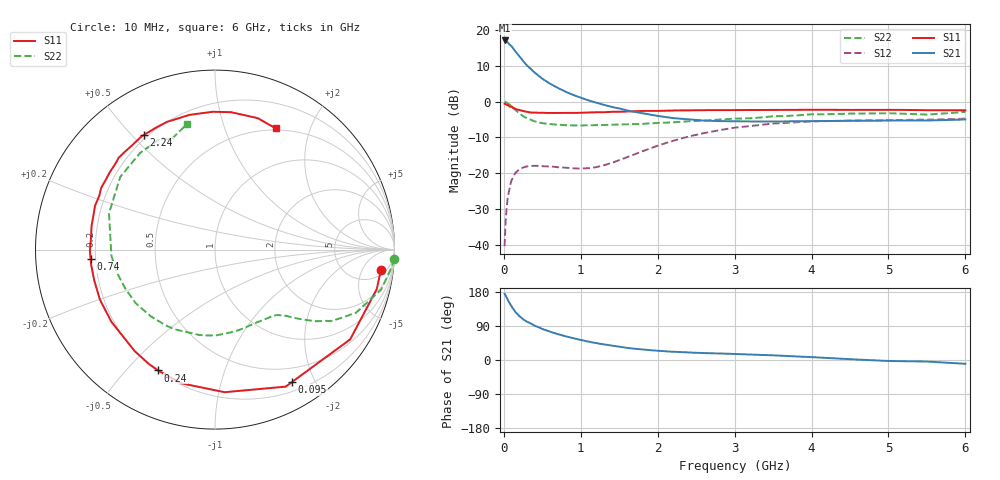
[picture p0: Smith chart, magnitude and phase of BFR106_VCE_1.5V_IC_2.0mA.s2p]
! (c) 2015  Infineon Technologies AG, Munich
! Infineon Technologies  Discrete & RF Semiconductors
! BFR106
! VCE =  1.5 V,  IC =  2.0 mA
! Common Emitter S-Parameters:  Nov 2015
# GHz  S  MA  R  50
!  f  S11  S21  S12  S22
! GHz  MAG  ANG  MAG  ANG  MAG  ANG  MAG  ANG
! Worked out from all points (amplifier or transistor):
!   210 points, 10 MHz to 6 GHz, reference 50 ohm
!   highest |S21| = 17.0 dB at 10 MHz (marker M1)
!   |S21| within 3 dB of that: start of sweep to 148.8 MHz
!   unconditionally stable (mu >= 1): 772.4 MHz to end of sweep
!   at 185 MHz: K = 0.25, MSG = 16.1 dB, |S12| = -19.2 dB
!   at 1.52 GHz: K = 1.28, MAG = 3.9 dB, |S12| = -16.1 dB
!   at 6 GHz: K = 1.02, MAG = -1.1 dB, |S12| = -4.8 dB
!   S11 on the Smith chart (normalised r, x): 10 MHz: 7, -12; 95 MHz: 0.31, -1.70; 240 MHz: 0.20, -0.62; 740 MHz: 0.18, -0.04; 2.24 GHz: 0.18, +0.54; 6 GHz: 0.48, +1.52
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0.01  0.9315 -7.0  7.096 174.9  0.0097 86.4  0.9977 -2.9
0.02  0.9277 -13.7  7.044 171.4  0.0186 83.9  0.9897 -5.6
0.025  0.9162 -16.9  6.96 169.3  0.0229 79.8  0.9822 -6.9
0.05  0.9042 -33.6  6.687 158.2  0.0454 71.5  0.9521 -13.5
0.095  0.8533 -59.7  5.96 143.1  0.0767 57.7  0.8689 -22.9
0.1  0.8591 -62.7  5.908 141.2  0.0803 56.8  0.8613 -24.1
0.15  0.7963 -86.1  5.006 126.3  0.1016 44.9  0.7641 -31.3
0.2  0.7682 -104.2  4.304 116.1  0.1141 37.5  0.6885 -35.4
0.24  0.7439 -115.2  3.797 109.3  0.1196 32.6  0.6384 -37.8
0.3  0.7211 -128.4  3.189 101.0  0.1252 28.1  0.5873 -40.5
0.4  0.7035 -145.2  2.537 90.5  0.1278 23.2  0.5303 -43.7
0.5  0.6991 -156.5  2.079 81.9  0.1266 20.8  0.4997 -46.9
0.6  0.6944 -165.7  1.775 74.6  0.1252 20.2  0.4856 -50.6
0.74  0.6951 -175.8  1.478 66.2  0.121 22.1  0.4735 -56.5
1.02  0.7004 168.2  1.112 52.0  0.117 32.1  0.4661 -69.4
1.4  0.7214 151.5  0.843 38.1  0.1396 50.4  0.4781 -89.3
2.02  0.7418 128.8  0.627 24.1  0.2468 58.3  0.5039 -124.1
2.24  0.752 121.8  0.584 21.3  0.2925 55.7  0.5179 -136.5
3.1  0.7631 98.7  0.53 15.2  0.4439 37.9  0.5804 178.5
4.1  0.7691 82.1  0.536 6.5  0.5318 17.2  0.6651 139.5
5.1  0.7673 70.9  0.545 -2.9  0.5524 2.4  0.6835 115.0
6  0.7559 63.2  0.563 -10.0  0.5786 -7.5  0.7178 102.4
